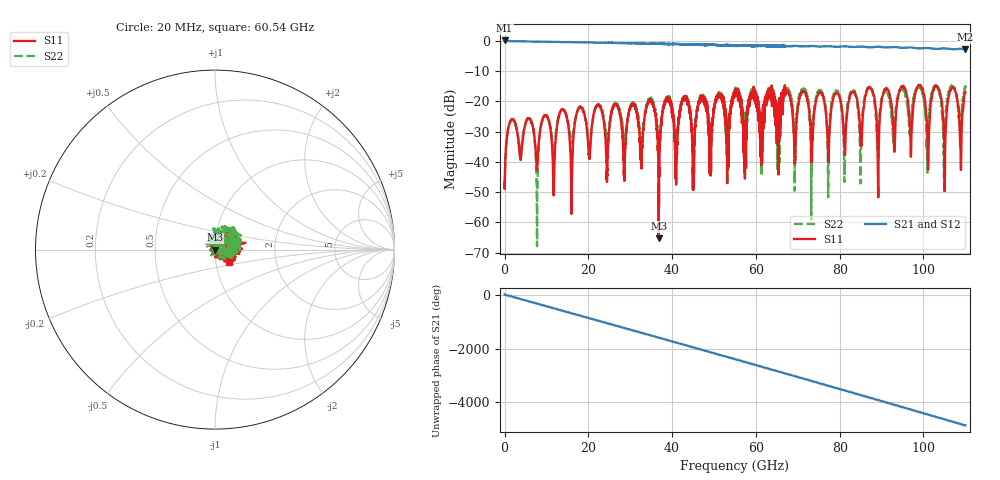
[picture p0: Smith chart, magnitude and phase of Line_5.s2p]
#  HZ  S  RI  R  50.00
! Rohde & Schwarz ZVA67 4Ports - Version 4.11 - 1305.7002k04 SN: 101032
! Date: 2026-02-18 15:36:04
! Measurements: S11 S21 S12 S22
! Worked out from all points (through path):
!   5500 points, 20 MHz to 110 GHz, reference 50 ohm
!   highest |S21| = 0.12 dB at 20 MHz (marker M1); lowest = -2.8 dB at 110 GHz (marker M2)
!   group delay of S21, straight-line fit = 122 ps
!   lowest |S11| = -65.2 dB at 36.8 GHz (marker M3), VSWR 1.00, Z = 50 - j0.0492 ohm
!   |S11| at or under -10 dB: start of sweep to end of sweep
!   |S22| runs from -67.9 to -14.6 dB; largest |S21 - S12| = 0.051
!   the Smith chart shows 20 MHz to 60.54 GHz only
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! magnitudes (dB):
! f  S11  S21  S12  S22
! 20 MHz  -47.5  0.1  -0.1  -46.3
! 1.7 GHz  -25.9  -0.1  -0.1  -26.1
! 7.76 GHz  -42.5  -0.3  -0.3  -67.9
! 18.36 GHz  -22.1  -0.5  -0.5  -21.9
! 28.56 GHz  -46.2  -0.8  -0.8  -34.1
! 34.86 GHz  -19.7  -1.0  -1.0  -19.4
! 36.68 GHz  -38.0  -1.0  -1.0  -32.7
! 36.8 GHz  -65.2  -1.0  -1.0  -34.0
! 38.78 GHz  -19.0  -1.1  -1.1  -19.3
! 45.06 GHz  -49.3  -1.2  -1.2  -41.5
! 55.02 GHz  -17.7  -1.6  -1.5  -16.8
! 69.3 GHz  -40.1  -1.7  -1.7  -46.4
! 71.44 GHz  -16.6  -1.9  -1.9  -16.0
! 73.34 GHz  -39.5  -1.7  -1.7  -42.0
! 75.16 GHz  -17.2  -1.9  -1.9  -16.5
! 77.26 GHz  -39.2  -1.8  -1.8  -48.6
! 79.1 GHz  -17.2  -2.0  -2.0  -16.5
! 87.4 GHz  -15.7  -2.2  -2.1  -15.7
! 89.2 GHz  -51.8  -2.0  -2.0  -32.4
! 91.68 GHz  -16.6  -2.2  -2.1  -18.2
! 110 GHz  -17.3  -2.8  -2.9  -15.4
! 110 GHz  -17.0  -2.8  -2.9  -15.1
